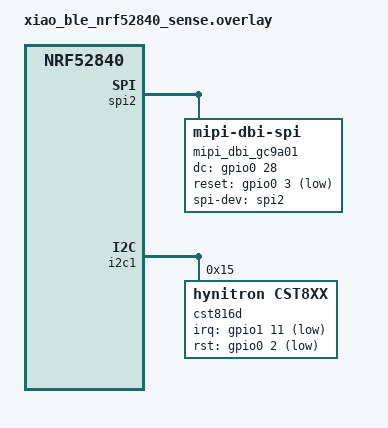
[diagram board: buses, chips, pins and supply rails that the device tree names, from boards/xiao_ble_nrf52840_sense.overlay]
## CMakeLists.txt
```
# SPDX-License-Identifier: Apache-2.0

cmake_minimum_required(VERSION 3.20.0)
find_package(Zephyr REQUIRED HINTS $ENV{ZEPHYR_BASE})
project(ZephyrSmartWatch)

target_sources(app PRIVATE
 src/main.c
 src/display/display.c
 src/touch/touch.c
 src/screens/screen_manager.c
 src/screens/screen_clock.c
 src/screens/screen_stepcount.c)
```

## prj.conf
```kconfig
CONFIG_GPIO=y
CONFIG_SPI=y
CONFIG_I2C=y
CONFIG_INPUT=y
CONFIG_LOG=y
CONFIG_INPUT_LOG_LEVEL_WRN=y
CONFIG_DISPLAY=y
CONFIG_MIPI_DBI=y
CONFIG_GC9X01X=y
CONFIG_INPUT_CST8XX=y
CONFIG_LVGL=y
#2 bytes per pixel, keep 2 for now change later/for more speed switching screens
CONFIG_LV_COLOR_DEPTH_16=y
#color is inverted so invert it back
CONFIG_LV_COLOR_16_SWAP=y 
#set buffer size to 50% of the display, so 240x240x2bytes/pixel = 115200 bytes/2 = 57600 bytes
CONFIG_LV_Z_VDB_SIZE=50 
#use two video buffers
CONFIG_LV_Z_DOUBLE_VDB=y 
#and flush the display
CONFIG_LV_Z_FLUSH_THREAD=y 
CONFIG_LV_Z_MEM_POOL_SIZE=16384
CONFIG_HEAP_MEM_POOL_SIZE=8192
CONFIG_MAIN_STACK_SIZE=4096
CONFIG_LV_USE_LOG=y
CONFIG_LV_LOG_LEVEL_INFO=y
```

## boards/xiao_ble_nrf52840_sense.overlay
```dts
#include <zephyr/dt-bindings/mipi_dbi/mipi_dbi.h>
#include <zephyr/dt-bindings/display/panel.h>
#include <zephyr/dt-bindings/i2c/i2c.h>

/{
	chosen {// the chosen node is used to specify devices for drivers
		//it wont run without this node
        zephyr,display = &gc9a01;

};

	lvgl_pointer: lvgl_pointer {
		compatible = "zephyr,lvgl-pointer-input";
		input = <&cst816d>;
	};
};
&spi2 {
	status = "okay"; //spi2 is set to disabled by default
	pinctrl-0 = <&spi2_default>; //this links the pinctrl-0, default mode, to the spi2_default pin group defined above
	pinctrl-1 = <&spi2_sleep>;
	pinctrl-names = "default", "sleep"; //array of pinctrl names
	cs-gpios = <&gpio0 29 GPIO_ACTIVE_LOW>; //CS pin GPIO port 0 pin 29, active low


	mipi_dbi_gc9a01: mipi-dbi-spi {
       		compatible = "zephyr,mipi-dbi-spi"; //this is the compatible string for the mipi-dbi-spi driver
        	spi-dev = <&spi2>;
		dc-gpios = <&gpio0 28 GPIO_ACTIVE_HIGH>;
        	reset-gpios = <&gpio0 3 GPIO_ACTIVE_LOW>;
        	#address-cells = <1>;
        	#size-cells = <0>;

		gc9a01: gc9a01@0 {// the @0 indicates the reg property is 0, which is the SPI chip select number
        	compatible = "galaxycore,gc9x01x";
        	reg = <0>;
        	status = "okay";
        	mipi-max-frequency = <32000000>;
        	pixel-format = <PANEL_PIXEL_FORMAT_RGB_565>;
        	width = <240>;
        	height = <240>;
        };
};
};


&i2c1 {
	cst816d: cst816d@15 {
        	compatible = "hynitron,cst8xx";
        	reg = <0x15>;//data sheet I2C address is 0x15
        	irq-gpios = <&gpio1 11 GPIO_ACTIVE_LOW>;
        	rst-gpios = <&gpio0 2 GPIO_ACTIVE_LOW>;
	};
};
```

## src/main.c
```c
/*
	Vinicius Malaman Soares
*/
#include <stdio.h>
#include <zephyr/kernel.h>
#include <zephyr/device.h>
#include <zephyr/devicetree.h>
#include <zephyr/drivers/display.h>
#include <lvgl.h>
#include "display/display.h"
#include "touch/touch.h"
#include "screens/screen_manager.h"



int main(void){


	int ret = display_init();
	if (ret < 0) {
		printk("display_init failed: %d\n", ret);
		return ret;
	}

	ret = touch_init();
    if (ret < 0) {
        printk("touch_init failed: %d\n", ret);
        return ret;
    }

	screen_manager_init();

	while (1) {
		lv_timer_handler();//call the lvgl handler to update the screen
		k_sleep(K_MSEC(5));
	}

}
```
